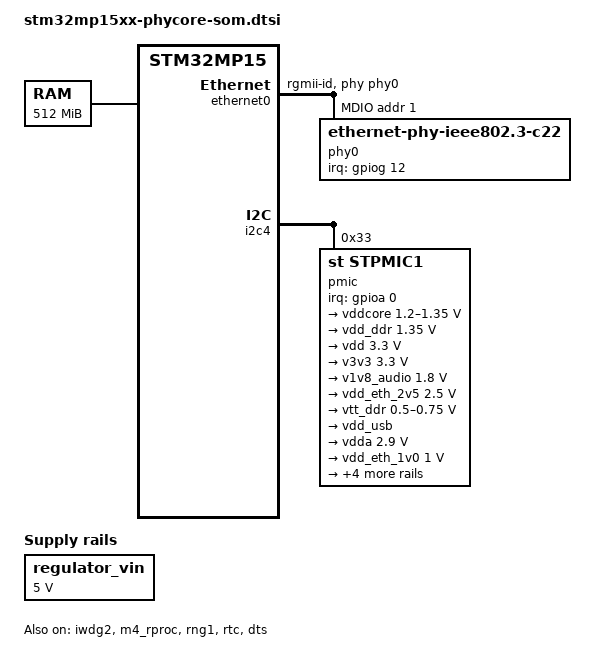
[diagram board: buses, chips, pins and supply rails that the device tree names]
// SPDX-License-Identifier: (GPL-2.0+ OR BSD-3-Clause)
/*
 * Copyright (C) Phytec GmbH 2019-2020 - All Rights Reserved
 * Author: Dom VOVARD <dom.vovard@linrt.com>
 * Copyright (C) 2022-2023 Steffen Trumtrar <kernel@pengutronix.de>
 * Copyright (C) 2024 PHYTEC Messtechnik GmbH
 * Author: Christophe Parant <c.parant@phytec.fr>
 */

#include <dt-bindings/gpio/gpio.h>
#include <dt-bindings/input/input.h>
#include <dt-bindings/mfd/st,stpmic1.h>
#include <dt-bindings/net/ti-dp83867.h>
#include "stm32mp15-pinctrl.dtsi"
#include "stm32mp15xxac-pinctrl.dtsi"

/ {

	aliases {
		ethernet0 = &ethernet0;
		rtc0 = &i2c4_rtc;
		rtc1 = &rtc;
	};

	/*
	 * Set the minimum memory size here and
	 * let the bootloader set the real size.
	 */
	memory@c0000000 {
		device_type = "memory";
		reg = <0xc0000000 0x20000000>;
	};

	reserved-memory {
		#address-cells = <1>;
		#size-cells = <1>;
		ranges;

		mcuram2: mcuram2@10000000 {
			compatible = "shared-dma-pool";
			reg = <0x10000000 0x40000>;
			no-map;
		};

		vdev0vring0: vdev0vring0@10040000 {
			compatible = "shared-dma-pool";
			reg = <0x10040000 0x1000>;
			no-map;
		};

		vdev0vring1: vdev0vring1@10041000 {
			compatible = "shared-dma-pool";
			reg = <0x10041000 0x1000>;
			no-map;
		};

		vdev0buffer: vdev0buffer@10042000 {
			compatible = "shared-dma-pool";
			reg = <0x10042000 0x4000>;
			no-map;
		};

		mcuram: mcuram@30000000 {
			compatible = "shared-dma-pool";
			reg = <0x30000000 0x40000>;
			no-map;
		};

		retram: retram@38000000 {
			compatible = "shared-dma-pool";
			reg = <0x38000000 0x10000>;
			no-map;
		};
	};

	regulator_vin: regulator {
		compatible = "regulator-fixed";
		regulator-name = "VIN";
		regulator-min-microvolt = <5000000>;
		regulator-max-microvolt = <5000000>;
		regulator-always-on;
	};
};

&ethernet0 {
	pinctrl-0 = <&ethernet0_rgmii_pins_d>;
	pinctrl-1 = <&ethernet0_rgmii_sleep_pins_d>;
	pinctrl-names = "default", "sleep";
	phy-mode = "rgmii-id";
	max-speed = <1000>;
	phy-handle = <&phy0>;
	st,eth-clk-sel;
	status = "okay";

	mdio {
		#address-cells = <1>;
		#size-cells = <0>;
		compatible = "snps,dwmac-mdio";

		phy0: ethernet-phy@1 {
			compatible = "ethernet-phy-ieee802.3-c22";
			reg = <1>;
			interrupt-parent = <&gpiog>;
			interrupts = <12 IRQ_TYPE_EDGE_FALLING>;
			enet-phy-lane-no-swap;
			ti,rx-internal-delay = <DP83867_RGMIIDCTL_2_00_NS>;
			ti,tx-internal-delay = <DP83867_RGMIIDCTL_2_00_NS>;
			ti,fifo-depth = <DP83867_PHYCR_FIFO_DEPTH_4_B_NIB>;
			ti,min-output-impedance;
			ti,clk-output-sel = <DP83867_CLK_O_SEL_OFF>;
		};
	};
};

&fmc {
	pinctrl-names = "default", "sleep";
	pinctrl-0 = <&fmc_pins_a>;
	pinctrl-1 = <&fmc_sleep_pins_a>;
	status = "disabled";

	nand-controller@4,0 {
		nand0: nand@0 {
			reg = <0>;
			nand-on-flash-bbt;
			nand-ecc-strength = <4>;
			nand-ecc-step-size = <512>;
		};
	};
};

&i2c4 {
	pinctrl-names = "default", "sleep";
	pinctrl-0 = <&i2c4_pins_a>;
	pinctrl-1 = <&i2c4_sleep_pins_a>;
	i2c-scl-rising-time-ns = <185>;
	i2c-scl-falling-time-ns = <20>;
	status = "okay";

	pmic@33 {
		compatible = "st,stpmic1";
		reg = <0x33>;
		interrupts-extended = <&gpioa 0 IRQ_TYPE_EDGE_FALLING>;
		interrupt-controller;
		#interrupt-cells = <2>;

		regulators {
			compatible = "st,stpmic1-regulators";
			buck1-supply = <&regulator_vin>;
			buck2-supply = <&regulator_vin>;
			buck3-supply = <&regulator_vin>;
			buck4-supply = <&regulator_vin>;
			ldo1-supply = <&v3v3>;
			ldo2-supply = <&v3v3>;
			ldo3-supply = <&vdd_ddr>;
			ldo4-supply = <&regulator_vin>;
			ldo5-supply = <&v3v3>;
			ldo6-supply = <&v3v3>;
			boost-supply = <&regulator_vin>;
			pwr_sw1-supply = <&bst_out>;
			pwr_sw2-supply = <&bst_out>;

			vddcore: buck1 {
				regulator-name = "VDD_CORE";
				regulator-min-microvolt = <1200000>;
				regulator-max-microvolt = <1350000>;
				regulator-always-on;
				regulator-initial-mode = <0>;
			};

			vdd_ddr: buck2 {
				regulator-name = "VDD_DDR";
				regulator-min-microvolt = <1350000>;
				regulator-max-microvolt = <1350000>;
				regulator-always-on;
				regulator-initial-mode = <0>;
			};

			vdd: buck3 {
				regulator-name = "VDD";
				regulator-min-microvolt = <3300000>;
				regulator-max-microvolt = <3300000>;
				regulator-always-on;
				st,mask-reset;
				regulator-initial-mode = <0>;
			};

			v3v3: buck4 {
				regulator-name = "VDD_BUCK4";
				regulator-min-microvolt = <3300000>;
				regulator-max-microvolt = <3300000>;
				regulator-always-on;
				regulator-initial-mode = <0>;
			};

			v1v8_audio: ldo1 {
				regulator-name = "VDD_LDO1";
				regulator-min-microvolt = <1800000>;
				regulator-max-microvolt = <1800000>;
				regulator-always-on;
				interrupts = <IT_CURLIM_LDO1 0>;

			};

			vdd_eth_2v5: ldo2 {
				regulator-name = "VDD_ETH_2V5";
				regulator-min-microvolt = <2500000>;
				regulator-max-microvolt = <2500000>;
				regulator-always-on;
				interrupts = <IT_CURLIM_LDO2 0>;

			};

			vtt_ddr: ldo3 {
				regulator-name = "VTT_DDR";
				regulator-min-microvolt = <500000>;
				regulator-max-microvolt = <750000>;
				regulator-always-on;
				regulator-over-current-protection;
			};

			vdd_usb: ldo4 {
				regulator-name = "VDD_USB";
				interrupts = <IT_CURLIM_LDO4 0>;
			};

			vdda: ldo5 {
				regulator-name = "VDDA";
				regulator-min-microvolt = <2900000>;
				regulator-max-microvolt = <2900000>;
				interrupts = <IT_CURLIM_LDO5 0>;
				regulator-boot-on;
			};

			vdd_eth_1v0: ldo6 {
				regulator-name = "VDD_ETH_1V0";
				regulator-min-microvolt = <1000000>;
				regulator-max-microvolt = <1000000>;
				regulator-always-on;
				interrupts = <IT_CURLIM_LDO6 0>;

			};

			vref_ddr: vref_ddr {
				regulator-name = "VDD_REFDDR";
				regulator-always-on;
			};

			bst_out: boost {
				regulator-name = "BST_OUT";
				interrupts = <IT_OCP_BOOST 0>;
			};

			vbus_otg: pwr_sw1 {
				regulator-name = "VBUS_OTG";
				interrupts = <IT_OCP_OTG 0>;
				regulator-active-discharge = <1>;
			};

			vbus_sw: pwr_sw2 {
				regulator-name = "VBUS_SW";
				interrupts = <IT_OCP_SWOUT 0>;
				regulator-active-discharge = <1>;
			};
		};

		onkey {
			compatible = "st,stpmic1-onkey";
			interrupts = <IT_PONKEY_F 0>,
				     <IT_PONKEY_R 0>;
			interrupt-names = "onkey-falling",
					  "onkey-rising";
			power-off-time-sec = <10>;
		};

		watchdog {
			compatible = "st,stpmic1-wdt";
		};
	};

	i2c4_eeprom: eeprom@50 {
		compatible = "atmel,24c32";
		reg = <0x50>;
		status = "disabled";
	};

	i2c4_rtc: rtc@52 {
		compatible = "microcrystal,rv3028";
		reg = <0x52>;
		status = "disabled";
	};
};

&ipcc {
	status = "okay";
};

&iwdg2 {
	timeout-sec = <32>;
	status = "okay";
};

&m4_rproc {
	memory-region = <&retram>, <&mcuram>, <&mcuram2>, <&vdev0vring0>,
			<&vdev0vring1>, <&vdev0buffer>;
	mboxes = <&ipcc 0>, <&ipcc 1>, <&ipcc 2>, <&ipcc 3>;
	mbox-names = "vq0", "vq1", "shutdown", "detach";
	interrupt-parent = <&exti>;
	interrupts = <68 1>;
	status = "okay";
};

&pwr_regulators {
	vdd-supply = <&vdd>;
	vdd_3v3_usbfs-supply = <&vdd_usb>;
};

&qspi {
	pinctrl-names = "default", "sleep";
	pinctrl-0 = <&qspi_clk_pins_a
		     &qspi_bk1_pins_a
		     &qspi_cs1_pins_a>;
	pinctrl-1 = <&qspi_clk_sleep_pins_a
		     &qspi_bk1_sleep_pins_a
		     &qspi_cs1_sleep_pins_a>;
	reg = <0x58003000 0x1000>,
	      <0x70000000 0x1000000>;
	status = "disabled";

	flash0: flash@0 {
		compatible = "jedec,spi-nor";
		reg = <0>;
		spi-rx-bus-width = <4>;
		spi-max-frequency = <50000000>;
		m25p,fast-read;
	};
};

&rng1 {
	status = "okay";
};

&rtc {
	status = "okay";
};

&dts {
	status = "okay";
};

&sdmmc2 {
	pinctrl-names = "default", "opendrain", "sleep";
	pinctrl-0 = <&sdmmc2_b4_pins_a &sdmmc2_d47_pins_e>;
	pinctrl-1 = <&sdmmc2_b4_od_pins_a &sdmmc2_d47_pins_e>;
	pinctrl-2 = <&sdmmc2_b4_sleep_pins_a &sdmmc2_d47_sleep_pins_e>;
	non-removable;
	no-sd;
	no-sdio;
	bus-width = <8>;
	vmmc-supply = <&v3v3>;
	vqmmc-supply = <&v3v3>;
	mmc-ddr-3_3v;
	st,neg-edge;
	status = "disabled";
};
